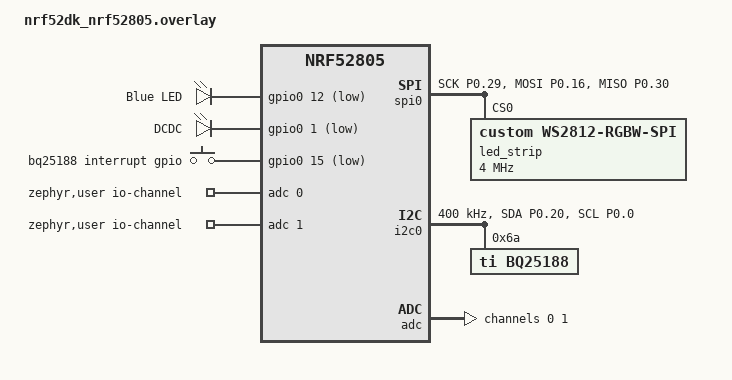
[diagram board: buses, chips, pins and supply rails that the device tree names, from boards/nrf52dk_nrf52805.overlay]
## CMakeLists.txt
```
cmake_minimum_required(VERSION 3.20.0)
find_package(Zephyr REQUIRED HINTS $ENV{ZEPHYR_BASE})

project(Gleam-Logic)

target_sources(app PRIVATE src/main.c)

# Add the component gleam_ble
target_sources(app PRIVATE
    components/gleam_ble/gleam_ble.c)
target_include_directories(app
    PRIVATE
    ${CMAKE_CURRENT_SOURCE_DIR}/components/gleam_ble
)

# Add the component gleam_bq25188
target_sources(app PRIVATE
    components/gleam_bq25188/gleam_bq25188.c)
target_include_directories(app
    PRIVATE
    ${CMAKE_CURRENT_SOURCE_DIR}/components/gleam_bq25188
)

# Add the component gleam_adc
target_sources(app PRIVATE
    components/gleam_adc/gleam_adc.c)
target_include_directories(app
    PRIVATE
    ${CMAKE_CURRENT_SOURCE_DIR}/components/gleam_adc
)

# Add the component gleam_rgbw
target_sources(app PRIVATE
    components/gleam_rgbw/gleam_rgbw.c)
target_include_directories(app
    PRIVATE
    ${CMAKE_CURRENT_SOURCE_DIR}/components/gleam_rgbw
)

# Add Driver rgbw letstrip
target_sources(app PRIVATE
    Drivers/driver_rgbw/driver_rgbw.c)
target_include_directories(app
    PRIVATE
    ${CMAKE_CURRENT_SOURCE_DIR}/Drivers/driver_rgbw
)
```

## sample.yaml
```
sample:
  name: Gleam
tests:
  applications.Gleam:
    build_only: true
    platform_allow: nrf52dk_nrf52805
    integration_platforms:
      - nrf52dk_nrf52805
```

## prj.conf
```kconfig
# Enable logging and RTT backend
CONFIG_LOG=y
CONFIG_USE_SEGGER_RTT=y
CONFIG_LOG_BACKEND_RTT=y
CONFIG_LOG_BACKEND_UART=n

# Route console/printk over RTT, not UART
CONFIG_CONSOLE=y
CONFIG_RTT_CONSOLE=y
CONFIG_UART_CONSOLE=n

# Optional but common when using printk/stdout with RTT
CONFIG_STDOUT_CONSOLE=y

CONFIG_CLOCK_CONTROL_NRF_K32SRC_RC=y
CONFIG_CLOCK_CONTROL_NRF_K32SRC_500PPM=y

CONFIG_GPIO=y
CONFIG_I2C=y
CONFIG_ADC=y

CONFIG_BT=y
CONFIG_BT_PERIPHERAL=y
CONFIG_BT_DEVICE_NAME="GLeam2"
# CONFIG_BT_DEBUG_LOG=y
# CONFIG_BT_DEVICE_APPEARANCE=962
CONFIG_HEAP_MEM_POOL_SIZE=1024

CONFIG_SYSTEM_WORKQUEUE_STACK_SIZE=1024
# Reduce Bluetooth buffers
CONFIG_BT_BUF_EVT_DISCARDABLE_COUNT=1
CONFIG_BT_BUF_EVT_DISCARDABLE_SIZE=43
CONFIG_BT_BUF_EVT_RX_COUNT=4
CONFIG_BT_CONN_TX_MAX=3
CONFIG_BT_L2CAP_TX_BUF_COUNT=2
CONFIG_BT_BUF_ACL_TX_COUNT=3
CONFIG_BT_BUF_ACL_TX_SIZE=27

CONFIG_BT_RX_STACK_SIZE=1024
CONFIG_BT_HCI_TX_STACK_SIZE_WITH_PROMPT=y
CONFIG_BT_HCI_TX_STACK_SIZE=640
CONFIG_MPSL_WORK_STACK_SIZE=640
CONFIG_MAIN_STACK_SIZE=1024
CONFIG_IDLE_STACK_SIZE=128
CONFIG_ISR_STACK_SIZE=1024

CONFIG_SOC_NRF52832_ALLOW_SPIM_DESPITE_PAN_58=y

CONFIG_SPI=y
CONFIG_LED_STRIP=y
```

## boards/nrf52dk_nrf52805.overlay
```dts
#include <zephyr/dt-bindings/led/led.h>

/ {
	chosen {
		zephyr,led-strip = &led_strip;
	};
};

&gpio0 {
    status = "okay";
};

&spi0 {
	compatible = "nordic,nrf-spi";
	status = "okay";
	pinctrl-0 = <&spi0_custom>;
	pinctrl-1 = <&spi0_sleep>;
	pinctrl-names = "default", "sleep";

	led_strip: ws2812@0 {
		compatible = "custom,ws2812-rgbw-spi";
		reg = <0>;
		spi-max-frequency = <4000000>;
		chain-length = <4>;
		color-mapping = <LED_COLOR_ID_GREEN LED_COLOR_ID_RED LED_COLOR_ID_BLUE LED_COLOR_ID_WHITE>;
		spi-one-frame = <0x70>;
		spi-zero-frame = <0x40>;
		reset-delay = <50>;
		has-white-channel;
		duplex = <0>;
		frame-format = <0>;
	};
};



/ {
	aliases {
		led-strip = &led_strip;
	};
};


&pinctrl {
	spi0_custom: spi0_custom {
		group1 {
			psels = <NRF_PSEL(SPIM_SCK, 0, 29)>,
			        <NRF_PSEL(SPIM_MOSI, 0, 16)>,
			        <NRF_PSEL(SPIM_MISO, 0, 30)>;
		};
	};

	spi0_sleep: spi0_sleep {
		group1 {
			psels = <NRF_PSEL(SPIM_SCK, 0, 29)>,
			        <NRF_PSEL(SPIM_MOSI, 0, 16)>,
			        <NRF_PSEL(SPIM_MISO, 0, 30)>;
			low-power-enable;
		};
	};
};

/ {
	leds {
		compatible = "gpio-leds";

		ledb: led_0 {
			gpios = <&gpio0 12 GPIO_ACTIVE_LOW>;
			label = "Blue LED";
		};

		dcdc: led_1 {
			gpios = <&gpio0 1 GPIO_ACTIVE_LOW>;
			label = "DCDC";
		};
	};

	bq_intr {
        compatible = "gpio-keys";

        bqintr: bq_intr {
            gpios = <&gpio0 15 GPIO_ACTIVE_LOW>;
            label = "bq25188 interrupt gpio";
        };
    };

	aliases {
		ledb = &ledb;
		dcdc = &dcdc;
		bqgpio = &bqintr;
	};
};


&i2c0 {
	status = "okay";
	compatible = "nordic,nrf-twim";
	clock-frequency = <I2C_BITRATE_FAST>;
	pinctrl-0 = <&i2c0_default>;
	pinctrl-1 = <&i2c0_sleep>;
	pinctrl-names = "default", "sleep";

	bq25188: bq25188@6a {
		status = "okay";
		compatible = "ti,bq25188";
		reg = <0x6a>;
		constant-charge-current-max-microamp = <500000>;
	};
};

&pinctrl {
	i2c0_default: i2c0_default {
		group1 {
			psels = <NRF_PSEL(TWIM_SDA, 0, 20)>,
					<NRF_PSEL(TWIM_SCL, 0, 0)>;
		};
	};

	i2c0_sleep: i2c0_sleep {
		group1 {
			psels = <NRF_PSEL(TWIM_SDA, 0, 0)>,
					<NRF_PSEL(TWIM_SCL, 0, 20)>;
			low-power-enable;
		};
	};
};

/ {
	/* ADC channels: 0 = batt, 1 = ref */
	zephyr,user {
		io-channels = <&adc 0>, <&adc 1>;
	};
};

&adc {
	#address-cells = <1>;
	#size-cells = <0>;
	status = "okay";

	/* Channel 0: battery on P0.04 = AIN2 */
	channel@0 {
		reg = <0>;
		zephyr,gain = "ADC_GAIN_1_6";
		zephyr,reference = "ADC_REF_INTERNAL";
		zephyr,acquisition-time = <ADC_ACQ_TIME_DEFAULT>;
		zephyr,input-positive = <NRF_SAADC_AIN2>; 
		zephyr,resolution = <12>;
	};

	/* Channel 1: 1.3 V reference on P0.05 = AIN3 */
	channel@1 {
		reg = <1>;
		zephyr,gain = "ADC_GAIN_1_6";
		zephyr,reference = "ADC_REF_INTERNAL";
		zephyr,acquisition-time = <ADC_ACQ_TIME_DEFAULT>;
		zephyr,input-positive = <NRF_SAADC_AIN3>;
		zephyr,resolution = <12>;
	};
};
```

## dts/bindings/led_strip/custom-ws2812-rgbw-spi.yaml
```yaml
description: Custom WS2812-compatible RGBW LED strip over SPI (for SK6812RGBW)
compatible: "custom,ws2812-rgbw-spi"
on-bus: spi

properties:
  reg:
    type: int
    required: true

  spi-max-frequency:
    type: int
    required: true

  chain-length:
    type: int
    required: true

  color-mapping:
    type: array
    required: false
    default:
      - LED_COLOR_ID_GREEN
      - LED_COLOR_ID_RED
      - LED_COLOR_ID_BLUE
      - LED_COLOR_ID_WHITE
    description: Channel to color mapping (pixel order). Use LED_COLOR_ID_* constants.

  spi-one-frame:
    type: int
    required: false
    default: 0x70

  spi-zero-frame:
    type: int
    required: false
    default: 0x40

  reset-delay:
    type: int
    required: false
    default: 50

  has-white-channel:
    type: boolean
    required: false
    description: Set if the strip has a white channel (RGBW).

  duplex:
    type: int
    required: false
    description: SPI duplex mode (ignored by this driver, added for compatibility with SPI_DT_SPEC macros)

  frame-format:
    type: int
    required: false
    description: SPI frame format (ignored by this driver, added for compatibility with SPI_DT_SPEC macros)
```

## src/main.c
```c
#include <stdio.h>
#include <zephyr/kernel.h>
#include <zephyr/device.h>
#include <zephyr/logging/log.h>
#include <zephyr/drivers/gpio.h>

#include "gleam_ble.h"
#include "gleam_bq25188.h"
#include "gleam_adc.h"
#include "gleam_rgbw.h"


LOG_MODULE_REGISTER(MAIN);

volatile bool ble_ready = false;

#define DELAY_TIME K_MSEC(5)
#define BLINK_SLEEP_TIME_MS 200

int main(void)
{

    int err;

    err = gleam_bq25188_init();
    if (0 != err)
        return 0;

    bq25188_dump_all_verbose();

    err = gleam_adc_init();
    if (0 != err)
        return 0;

    int16_t batt_raw, ref_raw;
    int32_t batt_mv;

    gleam_adc_read_batt_raw(&batt_raw);
    gleam_adc_read_ref_raw(&ref_raw);

    gleam_adc_read_batt_mv(&batt_mv);

    LOG_INF("batt_raw=%d, ref_raw=%d, batt_mv=%d",
            batt_raw, ref_raw, batt_mv);

    if (!gpio_is_ready_dt(&dcdc))
    {
        return 0;
    }
    gpio_pin_configure_dt(&dcdc, GPIO_OUTPUT_ACTIVE);

    gpio_pin_configure_dt(&ledb, GPIO_OUTPUT_ACTIVE);
    TURNON_DCDC;
    TURNOFF_LEDB;
    // gpio_pin_toggle_dt(&dcdc);

    err = gleam_ble_init_and_adv();
    if (0 != err)
        return 0;

    err = gleam_rgbw_ledstrip_init();
    if (0 != err)
        return 0;

    //     while (1) {
    //     // For now, you can manually update the RGB values
    //     r = 0;  // Example value for red
    //     g = 255;   // Example value for green
    //     b = 0;  // Example value for blue

    //     // Call function to update LED strip with the new RGB values
    //     gleam_ledstrip_set_rgb(r, g, b);

    //     //k_sleep(DELAY_TIME);  // Adjust delay as needed
    // }

    while (1)
    {
        if(true == bq25188_intr_occur)
        {
            gleam_bq25188_read_interrupt_cause();
            bq25188_intr_occur = false;
        }
    }
    

    return 0;
}
```
